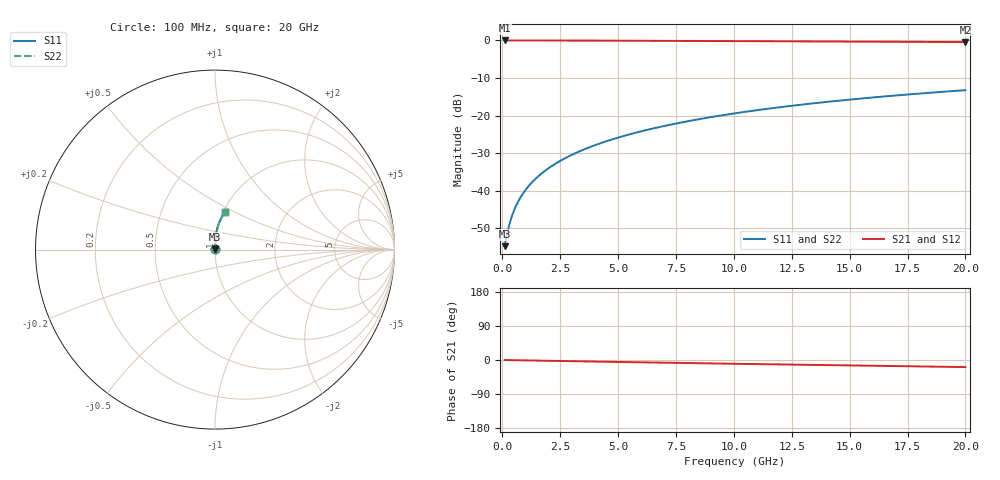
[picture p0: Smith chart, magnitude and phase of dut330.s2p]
! Touchstone file exported from HFSS 2024.1.0
!  File:  C:/UserFiles/LocalFiles/RDL_TSV_Batchsim/temp_RDL_top_330_1779607336.aedt
!  Generated:  03:24:43 PM May 24, 2026
!  Design:  RDL_top
!  Project:  temp_RDL_top_330_1779607336
!  Setup:  Setup1
!  Solution:  Sweep
! Variables:
!  dtsv = 10.80580581um
!  hbump = 3um
!  htsv = 93.72um
!  ldown = 100um
!  lrdl = 208.98um
!  p = 40
!  p1 = 54.79um
!  rhole = 1um
!  t = 450um
!  tdown = 3.915915916um
!  trdl = 2.84um
!  wdown = 15.38538539um
!  wrdl = 21.4um
# GHz S MA R 50.000000
! Terminal data exported
! Port[1] = Box2_T1
! Port[2] = Box2_T2
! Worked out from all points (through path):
!   200 points, 100 MHz to 20 GHz, reference 50 ohm
!   highest |S21| = -0.01 dB at 100 MHz (marker M1); lowest = -0.4 dB at 20 GHz (marker M2)
!   group delay of S21, straight-line fit = 2.57 ps
!   lowest |S11| = -54.8 dB at 100 MHz (marker M3), VSWR 1.00, Z = 50.1 + j0.106 ohm
!   |S11| at or under -10 dB: start of sweep to end of sweep
!   |S22| runs from -54.8 to -13.2 dB; largest |S21 - S12| = 3.3e-15
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0.1  0.001829 35.4  0.9985 -0.1  0.9985 -0.1  0.001829 35.4
! Gamma 0 0 0 0
! Port Impedance 50 0 50 0
0.2  0.002599 54.2  0.9985 -0.2  0.9985 -0.2  0.002598 54.2
0.3  0.003505 63.5  0.9984 -0.3  0.9984 -0.3  0.003505 63.5
0.4  0.004451 68.8  0.9983 -0.4  0.9983 -0.4  0.00445 68.9
0.5  0.005406 72.3  0.9982 -0.5  0.9982 -0.5  0.005406 72.3
0.6  0.006363 74.7  0.9982 -0.6  0.9982 -0.6  0.006363 74.7
0.8  0.008278 77.9  0.998 -0.9  0.998 -0.9  0.008278 77.9
1.1  0.01116 80.8  0.9978 -1.2  0.9978 -1.2  0.01116 80.8
1.5  0.01504 83.1  0.9975 -1.6  0.9975 -1.6  0.01504 83.1
1.8  0.01798 84.2  0.9972 -1.9  0.9972 -1.9  0.01798 84.2
2.1  0.02095 85.1  0.9968 -2.2  0.9968 -2.2  0.02095 85.1
2.7  0.02695 86.2  0.996 -2.8  0.996 -2.8  0.02695 86.2
3.5  0.03512 87.0  0.9947 -3.7  0.9947 -3.7  0.03512 87.0
4.2  0.04241 87.3  0.9933 -4.4  0.9933 -4.4  0.04241 87.3
5  0.0509 87.4  0.9916 -5.2  0.9916 -5.2  0.0509 87.4
5.9  0.06064 87.3  0.9895 -6.1  0.9895 -6.1  0.06064 87.3
6.8  0.07055 87.0  0.9872 -6.9  0.9872 -6.9  0.07055 87.0
8.4  0.08846 86.0  0.983 -8.4  0.983 -8.4  0.08846 86.0
10.1  0.1077 84.7  0.9784 -10.0  0.9784 -10.0  0.1077 84.7
13.4  0.1451 81.8  0.9692 -13.0  0.9692 -13.0  0.1451 81.8
16.7  0.1819 78.6  0.9597 -15.9  0.9597 -15.9  0.1819 78.6
20  0.2175 75.4  0.9498 -18.7  0.9498 -18.7  0.2175 75.4
